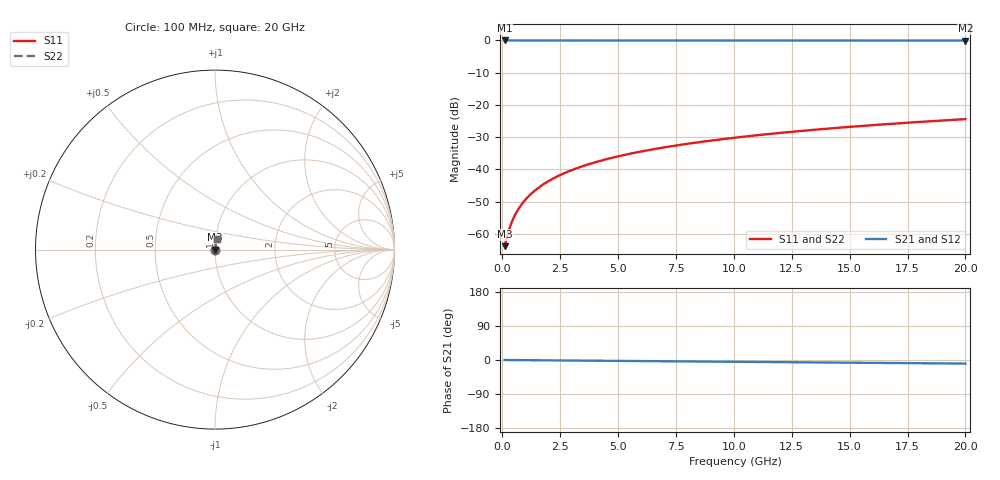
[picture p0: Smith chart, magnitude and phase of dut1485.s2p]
! Touchstone file exported from HFSS 2026.1.0
!  File:  C:/ffzhzh/LocalFiles/Ansys_Project_Files/temp_train_TSV_1485_1783198665_22436.aedt
!  Generated:  04:59:47 AM Jul  5, 2026
!  Design:  TSV
!  Project:  temp_train_TSV_1485_1783198665_22436
! Variables:
!  h_bsmrdl = 2um
!  h_ox = 20um
!  h_rdl = 5um
!  h_sub = 90.63um
!  h_tmrdl = 5um
!  h_tsv = 90.63um
!  h_via = 3um
!  l_bsmrdl = 300um
!  l_sub = 409.02um
!  l_tmrdl = 200um
!  m_sub = 200um
!  pitch = 32.24um
!  r_tsv = 4.51um
!  s_tmrdl = 10um
!  w_bsmrdl = 18um
!  w_sub = 500um
!  w_tmrdl = 12um
!  x_tsv_center1 = 206um
!  x_tsv_center2 = 524um
!  x_tsv_center3 = 736um
!  x_tsv_center4 = 1054um
!  x_tsv_center5 = 1266um
!  x_tsv_center6 = 1584um
# GHz S MA R 50.000000
! Terminal data exported
! Port[1] = TSV1_1_T1
! Port[2] = TSV1_1_T2
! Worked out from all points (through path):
!   200 points, 100 MHz to 20 GHz, reference 50 ohm
!   highest |S21| = 0.00 dB at 100 MHz (marker M1); lowest = 0.0 dB at 20 GHz (marker M2)
!   group delay of S21, straight-line fit = 1.3 ps
!   lowest |S11| = -63.8 dB at 100 MHz (marker M3), VSWR 1.00, Z = 50.1 + j0.0349 ohm
!   |S11| at or under -10 dB: start of sweep to end of sweep
!   |S22| runs from -63.8 to -24.4 dB; largest |S21 - S12| = 4e-15
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0.1  0.0006424 32.9  0.9995 -0.0  0.9995 -0.0  0.0006424 32.9
! Gamma 0 0 0 0
! Port Impedance 50 0 50 0
0.2  0.0008865 51.5  0.9994 -0.1  0.9994 -0.1  0.0008865 51.5
0.3  0.001179 61.1  0.9994 -0.1  0.9994 -0.1  0.001179 61.1
0.4  0.001487 66.7  0.9994 -0.2  0.9994 -0.2  0.001487 66.7
0.5  0.0018 70.2  0.9994 -0.2  0.9994 -0.2  0.0018 70.2
0.6  0.002116 72.7  0.9994 -0.3  0.9994 -0.3  0.002116 72.7
0.8  0.002749 76.0  0.9993 -0.4  0.9993 -0.4  0.002749 76.0
1.1  0.003703 78.8  0.9993 -0.5  0.9993 -0.5  0.003703 78.8
1.3  0.004342 80.0  0.9993 -0.6  0.9993 -0.6  0.004342 80.0
1.6  0.005299 81.1  0.9992 -0.8  0.9992 -0.8  0.005299 81.1
2.1  0.006892 82.2  0.9991 -1.0  0.9991 -1.0  0.006892 82.2
2.7  0.008789 82.7  0.999 -1.3  0.999 -1.3  0.008789 82.7
3.5  0.01129 83.0  0.9989 -1.7  0.9989 -1.7  0.01129 83.0
4.2  0.01345 83.0  0.9987 -2.0  0.9987 -2.0  0.01345 83.0
5  0.0159 82.9  0.9986 -2.4  0.9986 -2.4  0.0159 82.9
5.9  0.01862 82.8  0.9984 -2.8  0.9984 -2.8  0.01862 82.8
6.8  0.02133 82.6  0.9982 -3.2  0.9982 -3.2  0.02133 82.6
8.3  0.0258 82.2  0.9979 -3.9  0.9979 -3.9  0.0258 82.2
10.1  0.03115 81.7  0.9976 -4.8  0.9976 -4.8  0.03115 81.7
13.4  0.0409 80.6  0.997 -6.3  0.997 -6.3  0.0409 80.6
16.7  0.05057 79.4  0.9963 -7.9  0.9963 -7.9  0.05057 79.4
20  0.06015 78.1  0.9955 -9.4  0.9955 -9.4  0.06015 78.1
